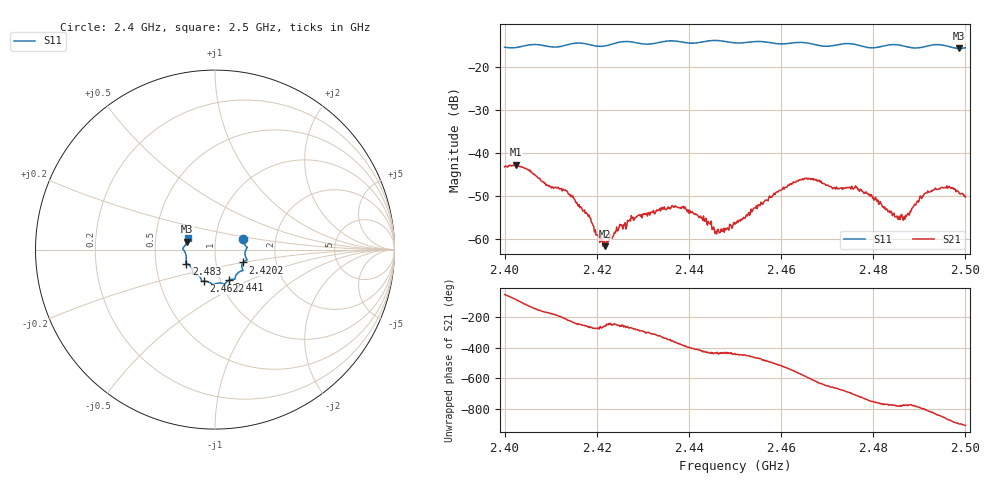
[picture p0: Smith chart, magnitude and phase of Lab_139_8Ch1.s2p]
# Hz S RI R 50
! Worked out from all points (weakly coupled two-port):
!   601 points, 2.4 GHz to 2.5 GHz, reference 50 ohm
!   highest |S21| = -42.83 dB at 2.4025 GHz (marker M1); lowest = -61.8 dB at 2.4218 GHz (marker M2)
!   lowest |S11| = -15.8 dB at 2.4987 GHz (marker M3), VSWR 1.39, Z = 36.4 + j3.28 ohm
!   |S11| at or under -10 dB: start of sweep to end of sweep
!   S12 and S22 are empty: the file has one direction only
!   S11 on the Smith chart (normalised r, x): 2.4 GHz: 1.36, +0.17; 2.4202 GHz: 1.35, -0.20; 2.441 GHz: 1.10, -0.39; 2.4622 GHz: 0.83, -0.30; 2.483 GHz: 0.72, -0.12; 2.5 GHz: 0.73, +0.09
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2.4e9  0.1566 0.0605  0.0041 -0.00543  0 0  0 0
2.4025e9  0.1633 0.0311  0.000419 -0.00721  0 0  0 0
2.413167e9  0.1714 -0.0425  -0.00317 0.0019  0 0  0 0
2.416667e9  0.1777 -0.0581  -0.000737 0.00219  0 0  0 0
2.420167e9  0.1564 -0.0717  3.3e-05 0.00111  0 0  0 0
2.421833e9  0.15 -0.0875  -0.000209 0.000788  0 0  0 0
2.427167e9  0.1553 -0.117  -3.76e-06 0.00166  0 0  0 0
2.433333e9  0.1128 -0.1521  0.00173 0.00127  0 0  0 0
2.436833e9  0.109 -0.1654  0.0023 -0.000147  0 0  0 0
2.441e9  0.0769 -0.1705  0.00139 -0.00136  0 0  0 0
2.446167e9  0.0514 -0.194  0.000442 -0.00117  0 0  0 0
2.45e9  0.0267 -0.1863  0.000325 -0.00143  0 0  0 0
2.462167e9  -0.0631 -0.1762  -0.00425 0.000338  0 0  0 0
2.466667e9  -0.0766 -0.1669  -0.00191 0.00457  0 0  0 0
2.476333e9  -0.1251 -0.1284  0.00388 0.000589  0 0  0 0
2.483e9  -0.159 -0.0779  0.00144 -0.00167  0 0  0 0
2.483333e9  -0.1605 -0.0773  0.00117 -0.00168  0 0  0 0
2.486833e9  -0.1609 -0.0611  0.000937 -0.00138  0 0  0 0
2.4915e9  -0.172 -0.0064  0.000266 -0.00336  0 0  0 0
2.496167e9  -0.1712 0.0171  -0.00323 -0.00211  0 0  0 0
2.498667e9  -0.156 0.0439  -0.00336 -0.000174  0 0  0 0
2.5e9  -0.153 0.0627  -0.003 0.00036  0 0  0 0
